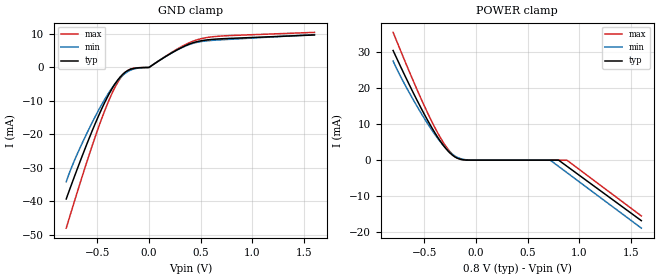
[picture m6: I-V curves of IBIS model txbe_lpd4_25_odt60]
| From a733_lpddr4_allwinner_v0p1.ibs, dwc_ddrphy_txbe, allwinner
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[Model] txbe_lpd4_25_odt60
Model_type   Input
Polarity   Non-Inverting
Enable   Active-High
C_comp   948.689fF   947.971fF   949.559fF
C_comp_pullup   264.389fF   263.598fF   267.575fF
C_comp_pulldown 495.652fF   488.316fF   503.898fF
Vinh = 500.000mV
Vinl = 390.000mV
[Model Spec]
D_overshoot_ampl_h 0.1 NA   NA
D_overshoot_ampl_l 0.1 NA   NA
D_overshoot_area_l 300.000m NA   NA
D_overshoot_area_h 300.000m NA   NA
[Receiver Thresholds]
Vth = 220.000mV
Vth_min = 212.000mV
Vth_max = 234.000mV
Vinh_ac = 60.000mV
Vinh_dc = 60.000mV
Vinl_ac = -60.000mV
Vinl_dc = -60.000mV
Tslew_ac = 5.000ns
Threshold_sensitivity = 0.5
Reference_supply Power_clamp_ref
[Temperature Range]   25.000   125.000   -40.000
[Voltage Range]   800.000mV   720.000mV   880.000mV
[GND Clamp Reference]   0.00V   0.00V   0.00V
[C Comp Corner]
| variable   typ   min   max
C_comp 947.971fF   948.689fF   949.559fF
C_comp_pullup 267.575fF   264.389fF   263.598fF
C_comp_pulldown 495.652fF   503.898fF   488.316fF
[POWER Clamp Reference]   800.000mV   720.000mV   880.000mV
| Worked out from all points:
|   GND clamp passes 1 mA (typ) near -0.21 V on its own axis
|   POWER clamp passes 1 mA (typ) near -0.21 V on its own axis
[GND Clamp]
-800mV    -39.32mA   -34.18mA   -48.04mA
-750mV    -35.06mA   -29.99mA   -42.96mA
-650mV    -26.82mA   -22.92mA   -33.01mA
-450mV    -11.91mA   -10.71mA   -14.7mA
-330mV    -4.979mA   -4.965mA   -6.006mA
-280mV    -2.892mA   -3.14mA    -3.352mA
-230mV    -1.41mA    -1.751mA   -1.499mA
-160mV    -370.6uA   -592.2uA   -306.2uA
0V        0A         0A         0A
310mV     5.868mA    5.815mA    6.142mA
530mV     8.106mA    7.855mA    8.777mA
1.6V      9.713mA    9.818mA    10.49mA
[Power Clamp]
-800mV    30.34mA    27.41mA    35.35mA
-640mV    20.66mA    18.48mA    24.25mA
-520mV    13.87mA    12.57mA    16.37mA
-420mV    8.706mA    8.094mA    10.34mA
-300mV    3.557mA    3.61mA     4.249mA
-200mV    837uA      1.1mA      955uA
-130mV    126.2uA    269.4uA    113.2uA
-50mV     1uA        18uA       -1uA
720mV     -4.284uA   -32.09uA   -1.06uA
800mV     -5.294uA   -1.739mA   -1.335uA
880mV     -1.679mA   -3.447mA   -1.621uA
1.6V      -16.75mA   -18.81mA   -15.43mA
